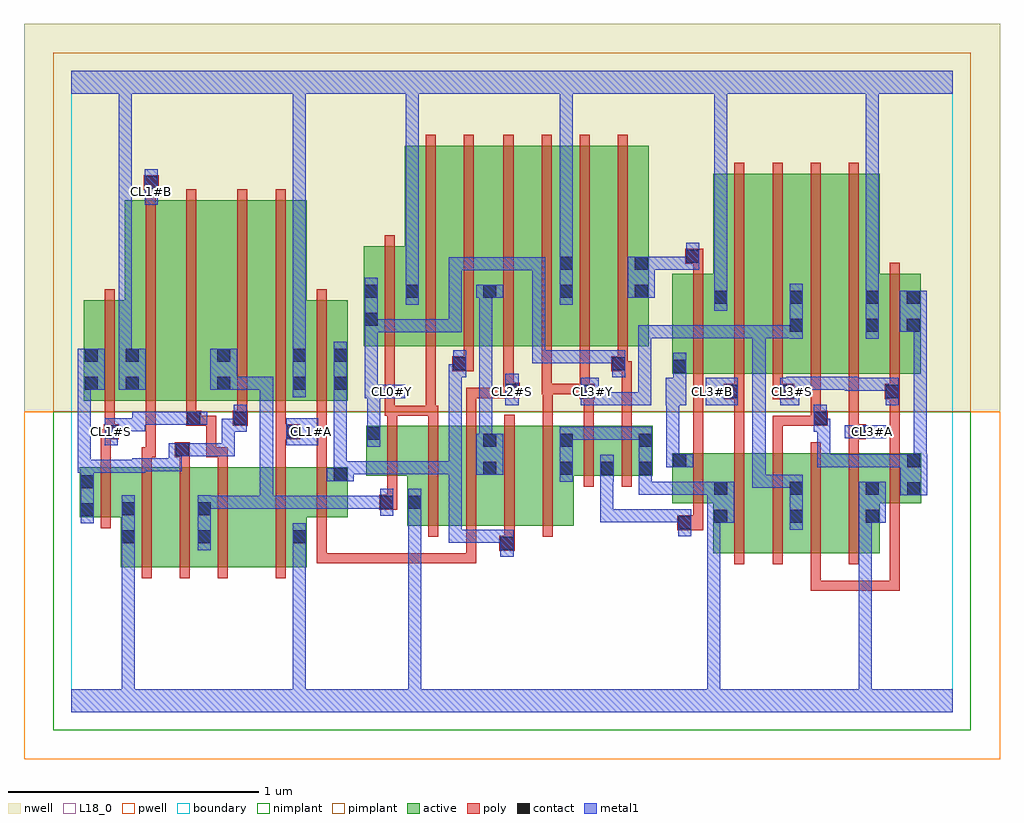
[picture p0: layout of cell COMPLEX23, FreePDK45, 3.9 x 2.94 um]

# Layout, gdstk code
import gdstk
lib = gdstk.Library(unit=1e-6, precision=1e-09)
def R(c, l, rs):  # rectangles x0, y0, x1, y1
    for r in rs: c.add(gdstk.rectangle(r[:2], r[2:], *l))
def A(c, l, x, y, w, h, nx, ny, dx, dy):  # array of equal rectangles
    R(c, l, [(x+i*dx, y+j*dy, x+i*dx+w, y+j*dy+h) for i in range(nx) for j in range(ny)])
active = (1, 0)
pwell = (2, 0)
nwell = (3, 0)
nimplant = (4, 0)
pimplant = (5, 0)
poly = (9, 0)
contact = (10, 0)
metal1 = (11, 0)
L18_0 = (18, 0)
boundary = (235, 0)

complex23 = lib.new_cell('COMPLEX23')
R(complex23, active, [(0.198,0.578,0.378,0.978), (0.198,0.578,0.258,0.978), (0.378,0.578,0.562,0.978), (0.502,0.578,0.682,0.978), (0.502,0.578,0.562,0.978), (0.682,0.578,0.94,0.978), (2.564,0.634,2.744,1.034), (2.564,0.634,2.624,1.034), (2.744,0.634,2.924,1.034), (2.864,0.634,3.048,1.034), (2.864,0.634,2.924,1.034), (3.048,0.634,3.228,1.034), (3.168,0.634,3.228,0.93), (0.88,0.67,0.94,0.828), (1.342,0.744,1.522,1.144), (1.522,0.744,1.702,1.144), (1.642,0.744,1.826,1.144), (1.826,0.744,2.006,1.144), (1.642,0.756,1.702,1.116), (1.946,0.756,2.006,1.144), (0.034,0.778,0.094,0.978), (0.034,0.778,0.258,0.978), (0.88,0.778,1.104,0.978), (1.044,0.778,1.104,0.978), (1.342,0.808,1.402,0.956), (2.4,0.834,2.46,1.034), (2.4,0.834,2.624,1.034), (3.168,0.834,3.394,1.034), (3.334,0.834,3.394,1.034), (1.178,0.944,1.238,1.144), (1.178,0.944,1.402,1.144), (1.946,0.944,2.17,1.144), (2.11,0.944,2.322,1.144), (2.11,0.944,2.17,1.028), (2.262,0.944,2.322,1.144), (0.05,1.244,0.11,1.644), (0.05,1.244,0.274,1.644), (0.214,1.244,0.274,2.044), (0.214,1.244,0.394,2.044), (0.394,1.244,0.64,2.044), (0.58,1.244,0.64,2.044), (0.58,1.244,0.76,2.044), (0.76,1.244,0.94,2.044), (0.88,1.244,1.104,1.644), (0.88,1.244,0.94,2.044), (1.044,1.244,1.104,1.644), (2.4,1.35,2.624,1.75), (2.4,1.35,2.46,1.644), (2.564,1.35,2.744,2.15), (2.744,1.35,2.924,2.15), (2.864,1.35,2.924,2.15), (2.864,1.35,3.048,2.15), (3.048,1.35,3.228,2.15), (3.168,1.35,3.392,1.75), (3.168,1.35,3.228,2.15), (3.332,1.35,3.392,1.75), (2.564,1.452,2.624,2.15), (1.168,1.46,1.228,1.86), (1.168,1.46,1.392,1.86), (1.332,1.46,1.392,2.26), (1.332,1.46,1.512,2.26), (1.512,1.46,1.702,2.26), (1.642,1.46,1.822,2.26), (1.822,1.46,2.006,2.26), (1.946,1.46,2.126,2.26), (2.126,1.46,2.306,2.26), (1.946,1.504,2.006,2.26), (1.642,1.572,1.702,2.044), (2.246,1.572,2.306,2.044)])
R(complex23, pwell, [(-0.188,-0.188,3.708,1.2)])
R(complex23, nwell, [(-0.188,1.2,3.708,2.748)])
R(complex23, nimplant, [(-0.072,-0.072,3.592,1.2)])
R(complex23, pimplant, [(-0.072,1.2,3.592,2.632)])
A(complex23, poly, 0.282, 0.534, 0.04, 0.488, 3, 1, 0.152, 0)
A(complex23, poly, 2.648, 0.59, 0.04, 0.488, 4, 1, 0.152, 0)
A(complex23, poly, 1.426, 0.7, 0.04, 0.488, 4, 1, 0.152, 0)
A(complex23, poly, 0.282, 0.982, 0.04, 0.076, 3, 1, 0.152, 0)
A(complex23, poly, 2.648, 1.306, 0.04, 0.888, 4, 1, 0.152, 0)
A(complex23, poly, 1.726, 1.416, 0.04, 0.888, 4, 1, 0.152, 0)
R(complex23, poly, [(2.952,0.484,2.992,0.524), (2.952,0.484,2.992,0.524), (2.952,0.484,2.992,0.524), (2.952,0.484,3.098,0.524), (2.952,0.484,2.992,0.63), (3.058,0.484,3.098,0.524), (3.058,0.484,3.308,0.524), (3.268,0.484,3.308,0.524), (3.268,0.484,3.308,0.524), (3.268,0.484,3.308,0.524), (3.268,0.484,3.308,0.524), (3.268,0.484,3.308,0.524), (3.268,0.484,3.308,0.524), (3.268,0.484,3.308,0.524), (3.268,0.484,3.308,0.83), (0.816,0.534,0.856,1.022), (0.98,0.594,1.02,0.634), (0.98,0.594,1.02,0.634), (0.98,0.594,1.02,0.634), (0.98,0.594,1.02,0.634), (0.98,0.594,1.02,0.634), (0.98,0.594,1.23,0.634), (0.98,0.594,1.02,0.774), (1.19,0.594,1.23,0.634), (1.19,0.594,1.23,0.634), (1.19,0.594,1.23,0.634), (1.19,0.594,1.23,0.634), (1.19,0.594,1.23,0.634), (1.19,0.594,1.408,0.634), (1.368,0.594,1.408,0.634), (1.368,0.594,1.408,0.634), (1.368,0.594,1.408,0.634), (1.368,0.594,1.618,0.634), (1.578,0.594,1.618,0.634), (1.578,0.594,1.618,0.634), (1.578,0.594,1.618,0.634), (1.578,0.594,1.618,0.74), (1.71,0.644,1.77,0.704), (1.73,0.664,1.77,0.74), (2.42,0.726,2.524,0.786), (0.118,0.734,0.158,1.022), (0.98,0.734,1.02,1.022), (2.484,0.746,2.524,0.83), (2.484,0.79,2.524,1.078), (3.268,0.79,3.308,1.078), (1.23,0.808,1.302,0.868), (1.262,0.828,1.302,0.94), (1.262,0.9,1.302,1.188), (2.046,0.9,2.086,1.188), (2.198,0.9,2.238,1.188), (0.118,0.982,0.158,1.13), (0.816,0.982,0.856,1.13), (0.98,0.982,1.02,1.058), (0.282,1.018,0.322,1.058), (0.282,1.018,0.322,1.058), (0.282,1.018,0.338,1.058), (0.298,1.018,0.338,1.24), (0.414,1.018,0.474,1.078), (0.54,1.018,0.58,1.058), (0.54,1.018,0.626,1.058), (0.54,1.018,0.58,1.184), (0.586,1.018,0.626,1.058), (0.98,1.018,1.02,1.058), (0.98,1.018,1.02,1.058), (0.98,1.018,1.02,1.058), (0.98,1.018,1.02,1.24), (2.484,1.038,2.524,1.31), (2.648,1.038,2.688,1.29), (2.8,1.038,2.84,1.184), (3.104,1.038,3.144,1.13), (3.268,1.038,3.308,1.29), (0.118,1.09,0.17,1.13), (0.13,1.09,0.17,1.13), (0.13,1.09,0.19,1.15), (0.816,1.09,0.856,1.13), (0.816,1.09,0.856,1.13), (0.816,1.09,0.914,1.15), (3.104,1.09,3.172,1.15), (0.134,1.11,0.174,1.24), (0.816,1.11,0.856,1.24), (3.104,1.11,3.144,1.15), (3.104,1.11,3.144,1.15), (3.104,1.11,3.144,1.346), (0.46,1.144,0.52,1.204), (0.48,1.144,0.58,1.184), (0.54,1.144,0.58,1.184), (0.646,1.144,0.706,1.204), (2.8,1.144,2.84,1.184), (2.8,1.144,2.886,1.184), (2.846,1.144,2.886,1.184), (2.846,1.144,2.992,1.184), (2.952,1.144,3.02,1.204), (1.262,1.148,1.302,1.224), (1.426,1.148,1.466,1.224), (1.578,1.148,1.618,1.294), (1.882,1.148,1.922,1.31), (2.046,1.148,2.086,1.29), (2.198,1.148,2.238,1.4), (0.46,1.164,0.5,1.24), (0.664,1.164,0.704,1.24), (2.952,1.164,2.992,1.204), (2.952,1.164,2.992,1.204), (2.952,1.164,2.992,1.346), (1.252,1.184,1.292,1.456), (1.252,1.184,1.302,1.224), (1.262,1.184,1.302,1.224), (1.262,1.184,1.302,1.224), (1.262,1.184,1.456,1.224), (1.416,1.184,1.456,1.224), (1.416,1.184,1.456,1.224), (1.416,1.184,1.456,1.224), (1.416,1.184,1.456,1.224), (1.416,1.184,1.456,1.456), (1.416,1.184,1.466,1.224), (0.134,1.2,0.174,1.688), (0.298,1.2,0.338,2.088), (0.46,1.2,0.5,2.088), (0.664,1.2,0.704,2.088), (0.816,1.2,0.856,2.088), (0.98,1.2,1.02,1.688), (2.03,1.25,2.09,1.31), (2.606,1.25,2.688,1.31), (2.648,1.25,2.688,1.29), (2.648,1.25,2.688,1.29), (2.8,1.25,2.886,1.31), (3.248,1.25,3.308,1.31), (3.268,1.25,3.308,1.29), (3.268,1.25,3.308,1.29), (1.578,1.254,1.618,1.294), (1.578,1.254,1.766,1.294), (1.726,1.254,1.766,1.294), (1.726,1.254,1.766,1.294), (1.726,1.254,1.766,1.294), (1.726,1.254,1.766,1.294), (1.726,1.254,1.79,1.314), (1.878,1.27,1.918,1.456), (1.878,1.27,1.922,1.31), (1.882,1.27,1.922,1.31), (1.882,1.27,1.922,1.31), (1.882,1.27,1.922,1.31), (1.882,1.27,1.922,1.31), (1.882,1.27,2.07,1.31), (2.03,1.27,2.07,1.31), (2.03,1.27,2.07,1.31), (2.03,1.27,2.07,1.456), (2.484,1.27,2.524,1.346), (2.484,1.27,2.524,1.31), (2.484,1.27,2.524,1.31), (2.484,1.27,2.524,1.31), (2.648,1.27,2.688,1.346), (2.8,1.27,2.84,1.346), (3.268,1.27,3.308,1.346), (1.726,1.274,1.766,1.456), (2.484,1.306,2.524,1.794), (3.268,1.306,3.308,1.794), (1.522,1.36,1.608,1.42), (2.156,1.36,2.222,1.42), (2.182,1.36,2.222,1.4), (2.182,1.36,2.238,1.4), (1.568,1.38,1.608,1.456), (2.182,1.38,2.222,1.456), (1.252,1.416,1.292,1.904), (1.416,1.416,1.456,2.304), (1.568,1.416,1.608,2.304), (2.484,1.754,2.524,1.83), (2.452,1.79,2.524,1.85), (0.298,2.048,0.338,2.124), (0.29,2.084,0.35,2.144)])
R(complex23, contact, [(1.714,0.648,1.766,0.7), (0.202,0.674,0.254,0.726), (0.506,0.674,0.558,0.726), (0.884,0.674,0.936,0.726), (2.424,0.73,2.476,0.782), (2.568,0.756,2.62,0.808), (2.868,0.756,2.92,0.808), (3.172,0.756,3.224,0.808), (0.038,0.782,0.09,0.834), (0.202,0.786,0.254,0.838), (0.506,0.786,0.558,0.838), (1.234,0.812,1.286,0.864), (1.346,0.812,1.398,0.864), (3.338,0.866,3.39,0.918), (2.568,0.868,2.62,0.92), (2.868,0.868,2.92,0.92), (3.172,0.868,3.224,0.92), (0.038,0.894,0.09,0.946), (1.048,0.922,1.1,0.974), (1.646,0.948,1.698,1), (1.95,0.948,2.002,1), (2.114,0.948,2.166,1), (2.266,0.948,2.318,1), (2.404,0.978,2.456,1.03), (3.338,0.978,3.39,1.03), (0.418,1.022,0.47,1.074), (1.646,1.06,1.698,1.112), (1.95,1.06,2.002,1.112), (2.266,1.06,2.318,1.112), (1.182,1.088,1.234,1.14), (0.134,1.094,0.186,1.146), (0.858,1.094,0.91,1.146), (3.116,1.094,3.168,1.146), (0.464,1.148,0.516,1.2), (0.65,1.148,0.702,1.2), (2.964,1.148,3.016,1.2), (2.034,1.254,2.086,1.306), (2.61,1.254,2.662,1.306), (2.83,1.254,2.882,1.306), (3.252,1.254,3.304,1.306), (1.734,1.258,1.786,1.31), (0.054,1.286,0.106,1.338), (0.218,1.286,0.27,1.338), (0.584,1.286,0.636,1.338), (0.884,1.286,0.936,1.338), (1.048,1.286,1.1,1.338), (2.404,1.354,2.456,1.406), (1.526,1.364,1.578,1.416), (2.16,1.364,2.212,1.416), (0.054,1.398,0.106,1.45), (0.218,1.398,0.27,1.45), (0.584,1.398,0.636,1.45), (0.884,1.398,0.936,1.45), (1.048,1.398,1.1,1.45), (2.868,1.518,2.92,1.57), (3.172,1.518,3.224,1.57), (3.336,1.518,3.388,1.57), (1.172,1.542,1.224,1.594), (2.568,1.63,2.62,1.682), (2.868,1.63,2.92,1.682), (3.172,1.63,3.224,1.682), (3.336,1.63,3.388,1.682), (1.172,1.654,1.224,1.706), (1.336,1.654,1.388,1.706), (1.646,1.654,1.698,1.706), (1.95,1.654,2.002,1.706), (2.25,1.654,2.302,1.706), (1.95,1.766,2.002,1.818), (2.25,1.766,2.302,1.818), (2.456,1.794,2.508,1.846), (0.294,2.088,0.346,2.14)])
R(complex23, metal1, [(0,0,3.52,0.092), (0.202,0.04,0.254,0.092), (0.202,0.04,0.254,0.092), (0.202,0.04,0.254,0.092), (0.202,0.04,0.254,0.092), (0.202,0.04,0.254,0.092), (0.202,0.04,0.254,0.092), (0.202,0.04,0.254,0.092), (0.202,0.04,0.254,0.092), (0.202,0.04,0.254,0.092), (0.202,0.04,0.254,0.092), (0.202,0.04,0.254,0.698), (0.884,0.04,0.936,0.092), (0.884,0.04,0.936,0.092), (0.884,0.04,0.936,0.092), (0.884,0.04,0.936,0.092), (0.884,0.04,0.936,0.092), (0.884,0.04,0.936,0.092), (0.884,0.04,0.936,0.092), (0.884,0.04,0.936,0.092), (0.884,0.04,0.936,0.092), (0.884,0.04,0.936,0.092), (0.884,0.04,0.936,0.092), (0.884,0.04,0.936,0.092), (0.884,0.04,0.936,0.698), (1.346,0.04,1.398,0.092), (1.346,0.04,1.398,0.092), (1.346,0.04,1.398,0.092), (1.346,0.04,1.398,0.092), (1.346,0.04,1.398,0.092), (1.346,0.04,1.398,0.092), (1.346,0.04,1.398,0.092), (1.346,0.04,1.398,0.092), (1.346,0.04,1.398,0.092), (1.346,0.04,1.398,0.092), (1.346,0.04,1.398,0.092), (1.346,0.04,1.398,0.092), (1.346,0.04,1.398,0.836), (2.54,0.04,2.592,0.092), (2.54,0.04,2.592,0.092), (2.54,0.04,2.592,0.092), (2.54,0.04,2.592,0.092), (2.54,0.04,2.592,0.092), (2.54,0.04,2.592,0.092), (2.54,0.04,2.592,0.808), (3.144,0.04,3.196,0.092), (3.144,0.04,3.196,0.092), (3.144,0.04,3.196,0.092), (3.144,0.04,3.196,0.092), (3.144,0.04,3.196,0.808), (1.714,0.62,1.766,0.728), (0.202,0.646,0.254,0.698), (0.202,0.646,0.254,0.698), (0.202,0.646,0.254,0.866), (0.506,0.646,0.558,0.866), (0.884,0.646,0.936,0.754), (1.508,0.676,1.56,0.728), (1.508,0.676,1.56,0.728), (1.508,0.676,1.56,0.728), (1.508,0.676,1.56,0.728), (1.508,0.676,1.56,0.728), (1.508,0.676,1.766,0.728), (1.508,0.676,1.56,1.002), (1.714,0.676,1.766,0.728), (1.714,0.676,1.766,0.728), (2.424,0.702,2.476,0.81), (2.868,0.728,2.92,0.948), (0.038,0.754,0.09,0.974), (2.54,0.756,2.592,0.808), (2.54,0.756,2.592,0.808), (2.54,0.756,2.592,0.808), (2.54,0.756,2.592,0.808), (2.54,0.756,2.592,0.808), (2.54,0.756,2.592,0.808), (2.54,0.756,2.648,0.92), (3.144,0.756,3.196,0.808), (3.144,0.756,3.196,0.808), (3.144,0.756,3.196,0.808), (3.144,0.756,3.196,0.808), (3.144,0.756,3.196,0.808), (3.144,0.756,3.196,0.808), (3.144,0.756,3.196,0.808), (3.144,0.756,3.196,0.808), (3.144,0.756,3.252,0.92), (2.112,0.758,2.164,0.81), (2.112,0.758,2.274,0.81), (2.112,0.758,2.164,0.972), (2.222,0.758,2.274,0.81), (2.222,0.758,2.274,0.81), (2.222,0.758,2.274,0.81), (2.222,0.758,2.476,0.81), (2.424,0.758,2.476,0.81), (2.424,0.758,2.476,0.81), (1.234,0.784,1.286,0.892), (1.346,0.784,1.398,0.892), (0.506,0.812,0.654,0.864), (0.602,0.812,0.654,0.864), (0.602,0.812,0.806,0.864), (0.754,0.812,0.806,0.864), (0.754,0.812,0.806,0.864), (0.754,0.812,0.806,0.864), (0.754,0.812,0.812,0.864), (0.754,0.812,0.806,1.338), (0.76,0.812,0.812,0.864), (0.76,0.812,0.922,0.864), (0.87,0.812,0.922,0.864), (0.87,0.812,0.922,0.864), (0.87,0.812,0.922,0.864), (0.87,0.812,0.922,0.864), (0.87,0.812,0.922,0.864), (0.87,0.812,0.922,0.864), (0.87,0.812,0.922,0.864), (0.87,0.812,1.032,0.864), (0.98,0.812,1.032,0.864), (0.98,0.812,1.21,0.864), (1.158,0.812,1.21,0.864), (1.158,0.812,1.286,0.864), (3.31,0.866,3.418,1.03), (2.266,0.868,2.476,0.92), (2.266,0.868,2.318,1.14), (2.424,0.868,2.476,0.92), (2.424,0.868,2.476,0.92), (2.424,0.868,2.476,0.92), (2.424,0.868,2.592,0.92), (2.54,0.868,2.592,0.92), (2.54,0.868,2.592,0.92), (2.54,0.868,2.592,0.92), (2.54,0.868,2.592,0.92), (2.72,0.896,2.772,0.948), (2.72,0.896,2.772,0.948), (2.72,0.896,2.772,0.948), (2.72,0.896,2.772,0.948), (2.72,0.896,2.772,0.948), (2.72,0.896,2.772,0.948), (2.72,0.896,2.772,0.948), (2.72,0.896,2.92,0.948), (2.72,0.896,2.772,1.544), (1.95,0.92,2.002,1.14), (2.112,0.92,2.166,1.028), (0.038,0.922,0.09,1.008), (1.02,0.922,1.128,0.974), (1.048,0.922,1.1,1.31), (1.076,0.922,1.128,0.974), (1.076,0.922,1.128,1.002), (1.618,0.948,1.726,1.112), (1.076,0.95,1.238,1.002), (1.186,0.95,1.238,1.002), (1.186,0.95,1.37,1.002), (1.318,0.95,1.37,1.002), (1.318,0.95,1.37,1.002), (1.318,0.95,1.37,1.002), (1.318,0.95,1.37,1.002), (1.318,0.95,1.37,1.002), (1.318,0.95,1.56,1.002), (1.508,0.95,1.56,1.002), (1.508,0.95,1.56,1.002), (1.508,0.95,1.56,1.002), (1.508,0.95,1.56,1.002), (1.508,0.95,1.56,1.002), (1.508,0.95,1.56,1.002), (1.508,0.95,1.56,1.002), (1.508,0.95,1.56,1.388), (0.026,0.956,0.078,1.338), (0.026,0.956,0.09,1.008), (0.038,0.956,0.09,1.008), (0.038,0.956,0.09,1.008), (0.038,0.956,0.296,1.008), (0.244,0.956,0.296,1.014), (0.244,0.962,0.296,1.014), (0.244,0.962,0.296,1.014), (0.244,0.962,0.442,1.014), (0.39,0.962,0.442,1.074), (2.376,0.978,2.428,1.278), (2.376,0.978,2.484,1.03), (2.978,0.978,3.03,1.03), (2.978,0.978,3.194,1.03), (2.978,0.978,3.03,1.172), (3.142,0.978,3.194,1.03), (3.142,0.978,3.194,1.03), (3.142,0.978,3.194,1.03), (3.142,0.978,3.362,1.03), (3.31,0.978,3.362,1.03), (3.31,0.978,3.362,1.03), (3.364,0.978,3.416,1.03), (3.364,0.978,3.416,1.03), (3.364,0.978,3.416,1.57), (0.39,1.022,0.442,1.074), (0.39,1.022,0.498,1.074), (0.446,1.022,0.654,1.074), (0.602,1.022,0.654,1.074), (0.602,1.022,0.654,1.172), (1.182,1.06,1.234,1.168), (1.63,1.06,1.682,1.112), (1.63,1.06,1.682,1.112), (1.63,1.06,1.682,1.112), (1.63,1.06,1.682,1.112), (1.63,1.06,1.682,1.706), (0.134,1.066,0.186,1.174), (0.858,1.066,0.986,1.174), (1.95,1.088,2.102,1.14), (2.05,1.088,2.102,1.14), (2.05,1.088,2.116,1.14), (2.064,1.088,2.116,1.14), (2.064,1.088,2.316,1.14), (2.264,1.088,2.316,1.14), (2.264,1.088,2.316,1.14), (2.264,1.088,2.318,1.14), (2.266,1.088,2.318,1.14), (3.088,1.094,3.254,1.146), (1.182,1.116,1.234,1.306), (0.602,1.12,0.654,1.172), (0.602,1.12,0.702,1.172), (0.65,1.12,0.702,1.228), (2.964,1.12,3.016,1.228), (2.964,1.12,3.03,1.172), (2.978,1.12,3.03,1.172), (0.134,1.122,0.296,1.174), (0.244,1.122,0.296,1.2), (0.244,1.148,0.296,1.2), (0.244,1.148,0.296,1.2), (0.244,1.148,0.406,1.2), (0.354,1.148,0.406,1.2), (0.354,1.148,0.488,1.2), (0.436,1.148,0.544,1.2), (1.734,1.226,1.786,1.35), (2.034,1.226,2.106,1.334), (2.054,1.226,2.116,1.278), (2.064,1.226,2.116,1.278), (2.064,1.226,2.316,1.278), (2.264,1.226,2.316,1.278), (2.264,1.226,2.316,1.278), (2.264,1.226,2.316,1.278), (2.264,1.226,2.316,1.544), (2.374,1.226,2.456,1.334), (2.534,1.226,2.662,1.334), (2.83,1.226,2.906,1.334), (3.252,1.226,3.304,1.334), (1.172,1.254,1.334,1.306), (1.172,1.254,1.224,1.566), (0.884,1.258,0.936,1.478), (1.048,1.258,1.1,1.31), (1.048,1.258,1.1,1.31), (1.048,1.258,1.1,1.31), (1.048,1.258,1.1,1.31), (1.048,1.258,1.1,1.31), (1.048,1.258,1.1,1.31), (1.048,1.258,1.1,1.478), (2.404,1.282,2.456,1.334), (2.404,1.282,2.456,1.334), (2.404,1.282,2.456,1.378), (2.854,1.282,2.906,1.334), (2.854,1.282,2.906,1.338), (3.088,1.282,3.14,1.334), (3.088,1.282,3.14,1.334), (3.088,1.282,3.304,1.334), (3.088,1.282,3.14,1.338), (0.026,1.286,0.078,1.338), (0.026,1.286,0.078,1.338), (0.026,1.286,0.134,1.45), (0.19,1.286,0.298,1.45), (0.556,1.286,0.664,1.45), (0.612,1.286,0.664,1.338), (0.612,1.286,0.664,1.338), (0.612,1.286,0.806,1.338), (0.754,1.286,0.806,1.338), (0.754,1.286,0.806,1.338), (0.754,1.286,0.806,1.338), (2.854,1.286,3.03,1.338), (2.978,1.286,3.03,1.338), (2.978,1.286,3.03,1.338), (2.978,1.286,3.03,1.338), (2.978,1.286,3.14,1.338), (2.404,1.326,2.456,1.434), (1.508,1.336,1.56,1.388), (1.508,1.336,1.578,1.388), (1.526,1.336,1.578,1.444), (2.16,1.336,2.212,1.444), (1.84,1.392,1.892,1.444), (1.84,1.392,1.892,1.444), (1.84,1.392,1.892,1.444), (1.84,1.392,1.896,1.444), (1.84,1.392,1.892,1.816), (1.844,1.392,1.896,1.444), (1.844,1.392,2.006,1.444), (1.954,1.392,2.006,1.444), (1.954,1.392,2.006,1.444), (1.954,1.392,2.006,1.444), (1.954,1.392,2.116,1.444), (2.064,1.392,2.116,1.444), (2.064,1.392,2.212,1.444), (0.19,1.398,0.242,2.52), (0.884,1.426,0.936,2.52), (2.868,1.49,2.92,1.71), (3.172,1.49,3.224,1.71), (2.264,1.492,2.316,1.544), (2.264,1.492,2.316,1.544), (2.264,1.492,2.316,1.544), (2.264,1.492,2.316,1.544), (2.264,1.492,2.316,1.544), (2.264,1.492,2.476,1.544), (2.424,1.492,2.476,1.544), (2.424,1.492,2.476,1.544), (2.424,1.492,2.476,1.544), (2.424,1.492,2.586,1.544), (2.534,1.492,2.586,1.544), (2.534,1.492,2.586,1.544), (2.534,1.492,2.586,1.544), (2.534,1.492,2.586,1.544), (2.534,1.492,2.586,1.544), (2.534,1.492,2.772,1.544), (2.72,1.492,2.772,1.544), (2.72,1.492,2.772,1.544), (2.72,1.492,2.772,1.544), (2.72,1.492,2.92,1.544), (1.172,1.514,1.224,1.566), (1.172,1.514,1.224,1.566), (1.172,1.514,1.224,1.734), (1.172,1.516,1.26,1.568), (1.208,1.516,1.26,1.568), (1.208,1.516,1.45,1.568), (1.398,1.516,1.45,1.568), (1.398,1.516,1.45,1.568), (1.398,1.516,1.45,1.568), (1.398,1.516,1.56,1.568), (1.508,1.516,1.56,1.568), (1.508,1.516,1.56,1.816), (3.308,1.518,3.416,1.682), (3.364,1.518,3.416,1.57), (3.364,1.518,3.416,1.57), (2.568,1.602,2.62,1.71), (1.336,1.626,1.388,1.734), (1.95,1.626,2.002,1.846), (1.618,1.654,1.726,1.706), (2.222,1.654,2.33,1.818), (2.568,1.658,2.62,1.71), (2.568,1.658,2.62,1.71), (2.568,1.658,2.62,1.71), (2.568,1.658,2.62,1.71), (2.568,1.658,2.62,1.71), (2.568,1.658,2.62,1.71), (2.568,1.658,2.62,2.52), (3.172,1.658,3.224,1.71), (3.172,1.658,3.224,1.71), (3.172,1.658,3.224,2.52), (1.336,1.682,1.388,1.734), (1.336,1.682,1.388,1.734), (1.336,1.682,1.388,1.734), (1.336,1.682,1.388,1.734), (1.336,1.682,1.388,2.52), (1.508,1.764,1.56,1.816), (1.508,1.764,1.56,1.816), (1.508,1.764,1.56,1.816), (1.508,1.764,1.688,1.816), (1.636,1.764,1.688,1.816), (1.636,1.764,1.688,1.816), (1.636,1.764,1.688,1.816), (1.636,1.764,1.892,1.816), (1.84,1.764,1.892,1.816), (2.278,1.766,2.476,1.818), (2.424,1.766,2.476,1.818), (2.424,1.766,2.508,1.818), (2.456,1.766,2.508,1.874), (1.95,1.794,2.002,2.52), (0.294,2.026,0.346,2.168), (0,2.468,3.52,2.56), (0.19,2.468,0.242,2.52), (0.19,2.468,0.242,2.52), (0.19,2.468,0.242,2.52), (0.19,2.468,0.242,2.52), (0.19,2.468,0.242,2.52), (0.19,2.468,0.242,2.52), (0.19,2.468,0.242,2.52), (0.19,2.468,0.242,2.52), (0.884,2.468,0.936,2.52), (0.884,2.468,0.936,2.52), (0.884,2.468,0.936,2.52), (0.884,2.468,0.936,2.52), (0.884,2.468,0.936,2.52), (0.884,2.468,0.936,2.52), (0.884,2.468,0.936,2.52), (0.884,2.468,0.936,2.52), (1.336,2.468,1.388,2.52), (1.336,2.468,1.388,2.52), (1.336,2.468,1.388,2.52), (1.336,2.468,1.388,2.52), (1.95,2.468,2.002,2.52), (1.95,2.468,2.002,2.52), (1.95,2.468,2.002,2.52), (1.95,2.468,2.002,2.52), (1.95,2.468,2.002,2.52), (1.95,2.468,2.002,2.52), (1.95,2.468,2.002,2.52), (1.95,2.468,2.002,2.52), (2.568,2.468,2.62,2.52), (2.568,2.468,2.62,2.52), (3.172,2.468,3.224,2.52), (3.172,2.468,3.224,2.52), (3.172,2.468,3.224,2.52), (3.172,2.468,3.224,2.52), (3.172,2.468,3.224,2.52), (3.172,2.468,3.224,2.52)])
A(complex23, L18_0, 1.734, 1.254, 0.052, 0.052, 3, 1, 0.32, 0)
R(complex23, L18_0, [(0,0,3.52,0.092), (0.202,0.04,0.254,0.092), (0.202,0.04,0.254,0.092), (0.202,0.04,0.254,0.092), (0.202,0.04,0.254,0.092), (0.202,0.04,0.254,0.092), (0.202,0.04,0.254,0.092), (0.202,0.04,0.254,0.092), (0.202,0.04,0.254,0.092), (0.202,0.04,0.254,0.092), (0.202,0.04,0.254,0.092), (0.202,0.04,0.254,0.698), (0.884,0.04,0.936,0.092), (0.884,0.04,0.936,0.092), (0.884,0.04,0.936,0.092), (0.884,0.04,0.936,0.092), (0.884,0.04,0.936,0.092), (0.884,0.04,0.936,0.092), (0.884,0.04,0.936,0.092), (0.884,0.04,0.936,0.092), (0.884,0.04,0.936,0.092), (0.884,0.04,0.936,0.092), (0.884,0.04,0.936,0.092), (0.884,0.04,0.936,0.092), (0.884,0.04,0.936,0.698), (1.346,0.04,1.398,0.092), (1.346,0.04,1.398,0.092), (1.346,0.04,1.398,0.092), (1.346,0.04,1.398,0.092), (1.346,0.04,1.398,0.092), (1.346,0.04,1.398,0.092), (1.346,0.04,1.398,0.092), (1.346,0.04,1.398,0.092), (1.346,0.04,1.398,0.092), (1.346,0.04,1.398,0.092), (1.346,0.04,1.398,0.092), (1.346,0.04,1.398,0.092), (1.346,0.04,1.398,0.836), (2.54,0.04,2.592,0.092), (2.54,0.04,2.592,0.092), (2.54,0.04,2.592,0.092), (2.54,0.04,2.592,0.092), (2.54,0.04,2.592,0.092), (2.54,0.04,2.592,0.092), (2.54,0.04,2.592,0.808), (3.144,0.04,3.196,0.092), (3.144,0.04,3.196,0.092), (3.144,0.04,3.196,0.092), (3.144,0.04,3.196,0.092), (3.144,0.04,3.196,0.808), (0.202,0.646,0.254,0.698), (0.202,0.646,0.254,0.698), (0.202,0.646,0.254,0.866), (0.884,0.646,0.936,0.754), (2.868,0.728,2.92,0.948), (2.54,0.756,2.592,0.808), (2.54,0.756,2.592,0.808), (2.54,0.756,2.592,0.808), (2.54,0.756,2.592,0.808), (2.54,0.756,2.592,0.808), (2.54,0.756,2.592,0.808), (2.54,0.756,2.648,0.92), (3.144,0.756,3.196,0.808), (3.144,0.756,3.196,0.808), (3.144,0.756,3.196,0.808), (3.144,0.756,3.196,0.808), (3.144,0.756,3.196,0.808), (3.144,0.756,3.196,0.808), (3.144,0.756,3.196,0.808), (3.144,0.756,3.196,0.808), (3.144,0.756,3.252,0.92), (1.346,0.784,1.398,0.892), (2.266,0.868,2.318,1.14), (2.266,0.868,2.476,0.92), (2.424,0.868,2.476,0.92), (2.424,0.868,2.476,0.92), (2.424,0.868,2.476,0.92), (2.424,0.868,2.592,0.92), (2.54,0.868,2.592,0.92), (2.54,0.868,2.592,0.92), (2.54,0.868,2.592,0.92), (2.54,0.868,2.592,0.92), (2.72,0.896,2.772,0.948), (2.72,0.896,2.772,0.948), (2.72,0.896,2.772,0.948), (2.72,0.896,2.772,0.948), (2.72,0.896,2.772,0.948), (2.72,0.896,2.772,0.948), (2.72,0.896,2.772,0.948), (2.72,0.896,2.772,1.544), (2.72,0.896,2.92,0.948), (1.95,0.92,2.002,1.14), (2.376,0.978,2.484,1.03), (2.376,0.978,2.428,1.278), (1.182,1.06,1.234,1.168), (0.134,1.066,0.186,1.174), (0.858,1.066,0.986,1.174), (1.95,1.088,2.102,1.14), (2.05,1.088,2.102,1.14), (2.05,1.088,2.116,1.14), (2.064,1.088,2.116,1.14), (2.064,1.088,2.316,1.14), (2.264,1.088,2.316,1.14), (2.264,1.088,2.316,1.14), (2.264,1.088,2.318,1.14), (2.266,1.088,2.318,1.14), (0.134,1.094,0.186,1.146), (0.934,1.094,0.986,1.146), (3.088,1.094,3.254,1.146), (3.174,1.094,3.226,1.146), (1.182,1.116,1.234,1.306), (0.134,1.122,0.296,1.174), (0.244,1.122,0.296,1.2), (0.244,1.148,0.296,1.2), (0.244,1.148,0.296,1.2), (0.244,1.148,0.406,1.2), (0.354,1.148,0.406,1.2), (0.354,1.148,0.488,1.2), (0.436,1.148,0.544,1.2), (1.734,1.226,1.786,1.35), (2.034,1.226,2.106,1.334), (2.054,1.226,2.116,1.278), (2.064,1.226,2.116,1.278), (2.064,1.226,2.316,1.278), (2.264,1.226,2.316,1.278), (2.264,1.226,2.316,1.278), (2.264,1.226,2.316,1.278), (2.264,1.226,2.316,1.544), (2.374,1.226,2.456,1.334), (2.534,1.226,2.662,1.334), (2.83,1.226,2.906,1.334), (3.252,1.226,3.304,1.334), (1.172,1.254,1.334,1.306), (1.172,1.254,1.224,1.566), (1.254,1.254,1.306,1.306), (2.534,1.254,2.586,1.306), (2.854,1.254,2.906,1.306), (0.884,1.258,0.936,1.478), (2.404,1.282,2.456,1.334), (2.404,1.282,2.456,1.334), (2.404,1.282,2.456,1.378), (2.854,1.282,2.906,1.334), (2.854,1.282,2.906,1.338), (3.088,1.282,3.14,1.334), (3.088,1.282,3.14,1.334), (3.088,1.282,3.14,1.338), (3.088,1.282,3.304,1.334), (0.19,1.286,0.298,1.45), (2.854,1.286,3.03,1.338), (2.978,1.286,3.03,1.338), (2.978,1.286,3.03,1.338), (2.978,1.286,3.03,1.338), (2.978,1.286,3.14,1.338), (2.404,1.326,2.456,1.434), (2.16,1.336,2.212,1.444), (1.84,1.392,1.892,1.444), (1.84,1.392,1.892,1.444), (1.84,1.392,1.892,1.444), (1.84,1.392,1.892,1.816), (1.84,1.392,1.896,1.444), (1.844,1.392,1.896,1.444), (1.844,1.392,2.006,1.444), (1.954,1.392,2.006,1.444), (1.954,1.392,2.006,1.444), (1.954,1.392,2.006,1.444), (1.954,1.392,2.116,1.444), (2.064,1.392,2.116,1.444), (2.064,1.392,2.212,1.444), (0.19,1.398,0.242,2.52), (0.884,1.426,0.936,2.52), (2.868,1.49,2.92,1.71), (3.172,1.49,3.224,1.71), (2.264,1.492,2.316,1.544), (2.264,1.492,2.316,1.544), (2.264,1.492,2.316,1.544), (2.264,1.492,2.316,1.544), (2.264,1.492,2.316,1.544), (2.264,1.492,2.476,1.544), (2.424,1.492,2.476,1.544), (2.424,1.492,2.476,1.544), (2.424,1.492,2.476,1.544), (2.424,1.492,2.586,1.544), (2.534,1.492,2.586,1.544), (2.534,1.492,2.586,1.544), (2.534,1.492,2.586,1.544), (2.534,1.492,2.586,1.544), (2.534,1.492,2.586,1.544), (2.534,1.492,2.772,1.544), (2.72,1.492,2.772,1.544), (2.72,1.492,2.772,1.544), (2.72,1.492,2.772,1.544), (2.72,1.492,2.92,1.544), (1.172,1.514,1.224,1.566), (1.172,1.514,1.224,1.566), (1.172,1.514,1.224,1.734), (1.172,1.516,1.26,1.568), (1.208,1.516,1.26,1.568), (1.208,1.516,1.45,1.568), (1.398,1.516,1.45,1.568), (1.398,1.516,1.45,1.568), (1.398,1.516,1.45,1.568), (1.398,1.516,1.56,1.568), (1.508,1.516,1.56,1.568), (1.508,1.516,1.56,1.816), (2.568,1.602,2.62,1.71), (1.336,1.626,1.388,1.734), (1.95,1.626,2.002,1.846), (2.568,1.658,2.62,1.71), (2.568,1.658,2.62,1.71), (2.568,1.658,2.62,1.71), (2.568,1.658,2.62,1.71), (2.568,1.658,2.62,1.71), (2.568,1.658,2.62,1.71), (2.568,1.658,2.62,2.52), (3.172,1.658,3.224,1.71), (3.172,1.658,3.224,1.71), (3.172,1.658,3.224,2.52), (1.336,1.682,1.388,1.734), (1.336,1.682,1.388,1.734), (1.336,1.682,1.388,1.734), (1.336,1.682,1.388,1.734), (1.336,1.682,1.388,2.52), (1.508,1.764,1.56,1.816), (1.508,1.764,1.56,1.816), (1.508,1.764,1.56,1.816), (1.508,1.764,1.688,1.816), (1.636,1.764,1.688,1.816), (1.636,1.764,1.688,1.816), (1.636,1.764,1.688,1.816), (1.636,1.764,1.892,1.816), (1.84,1.764,1.892,1.816), (1.95,1.794,2.002,2.52), (0.294,2.026,0.346,2.168), (0.294,2.054,0.346,2.106), (0,2.468,3.52,2.56), (0.19,2.468,0.242,2.52), (0.19,2.468,0.242,2.52), (0.19,2.468,0.242,2.52), (0.19,2.468,0.242,2.52), (0.19,2.468,0.242,2.52), (0.19,2.468,0.242,2.52), (0.19,2.468,0.242,2.52), (0.19,2.468,0.242,2.52), (0.884,2.468,0.936,2.52), (0.884,2.468,0.936,2.52), (0.884,2.468,0.936,2.52), (0.884,2.468,0.936,2.52), (0.884,2.468,0.936,2.52), (0.884,2.468,0.936,2.52), (0.884,2.468,0.936,2.52), (0.884,2.468,0.936,2.52), (1.336,2.468,1.388,2.52), (1.336,2.468,1.388,2.52), (1.336,2.468,1.388,2.52), (1.336,2.468,1.388,2.52), (1.95,2.468,2.002,2.52), (1.95,2.468,2.002,2.52), (1.95,2.468,2.002,2.52), (1.95,2.468,2.002,2.52), (1.95,2.468,2.002,2.52), (1.95,2.468,2.002,2.52), (1.95,2.468,2.002,2.52), (1.95,2.468,2.002,2.52), (2.568,2.468,2.62,2.52), (2.568,2.468,2.62,2.52), (3.172,2.468,3.224,2.52), (3.172,2.468,3.224,2.52), (3.172,2.468,3.224,2.52), (3.172,2.468,3.224,2.52), (3.172,2.468,3.224,2.52), (3.172,2.468,3.224,2.52)])
R(complex23, boundary, [(0,0,3.52,2.56)])
complex23.add(gdstk.Label('CL0#Y', (1.28,1.28), layer=11, texttype=0))
complex23.add(gdstk.Label('CL1#A', (0.96,1.12), layer=11, texttype=0))
complex23.add(gdstk.Label('CL1#B', (0.32,2.08), layer=11, texttype=0))
complex23.add(gdstk.Label('CL1#S', (0.16,1.12), layer=11, texttype=0))
complex23.add(gdstk.Label('CL2#S', (1.76,1.28), layer=11, texttype=0))
complex23.add(gdstk.Label('CL3#A', (3.2,1.12), layer=11, texttype=0))
complex23.add(gdstk.Label('CL3#B', (2.56,1.28), layer=11, texttype=0))
complex23.add(gdstk.Label('CL3#S', (2.88,1.28), layer=11, texttype=0))
complex23.add(gdstk.Label('CL3#Y', (2.08,1.28), layer=11, texttype=0))
complex23.add(gdstk.Label('CL4#Y', (2.4,1.28), layer=11, texttype=0))

lib.write_gds('COMPLEX23.gds')
